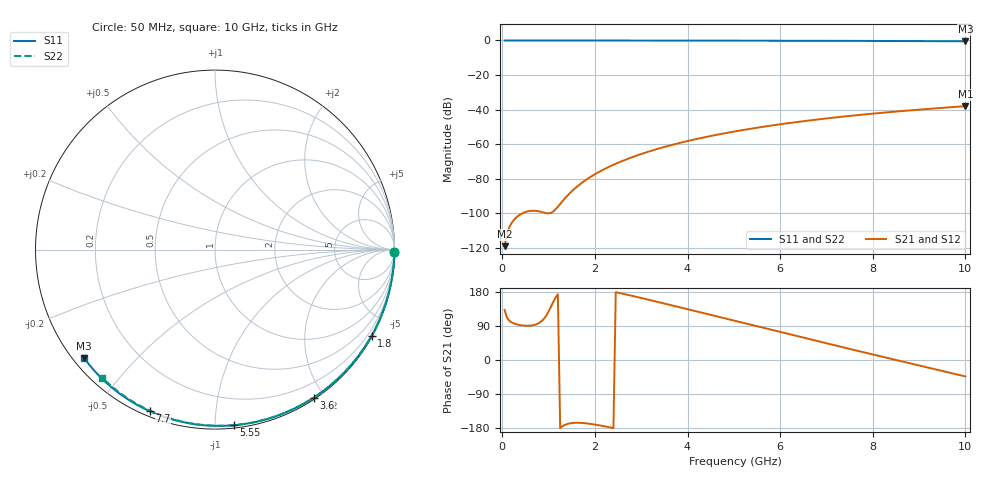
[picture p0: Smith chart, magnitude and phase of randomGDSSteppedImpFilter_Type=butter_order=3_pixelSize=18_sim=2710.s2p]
! freq	dB(S11)	phase(S11)	dB(S12)	phase(S12)
!  dB(S21)	phase(S21)	dB(S22)	phase(S22)
!S-par simulation data
#  GHz  S  DB  R 50
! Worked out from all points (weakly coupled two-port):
!   200 points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, 50 MHz to 10 GHz, reference 50 ohm
!   highest |S21| = -38.08 dB at 10 GHz (marker M1); lowest = -119.2 dB at 50 MHz (marker M2)
!   lowest |S11| = -0.5 dB at 10 GHz (marker M3), VSWR 36.54, Z = 1.55 - j18 ohm
!   |S11| at or under -10 dB: nowhere
!   |S22| runs from -0.4 to 0.0 dB; largest |S21 - S12| = 0
!   S11 on the Smith chart (normalised r, x): 50 MHz: open; 1.8 GHz: 0.03, -3.89; 3.6 GHz: 0.02, -1.87; 5.55 GHz: 0.02, -1.11; 7.7 GHz: 0.02, -0.68; 10 GHz: 0.03, -0.36
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0.05  -0.00 -0.8  -119.18 132.1  -119.18 132.1  -0.00 -0.8
0.45  -0.01 -7.3  -99.91 91.0  -99.91 91.0  -0.01 -6.8
0.9  -0.02 -14.5  -99.76 108.9  -99.76 108.9  -0.02 -13.6
1.75  -0.04 -28.0  -81.85 -166.4  -81.85 -166.4  -0.03 -26.2
1.8  -0.04 -28.8  -80.90 -167.0  -80.90 -167.0  -0.03 -26.9
1.85  -0.04 -29.6  -80.00 -167.7  -80.00 -167.7  -0.04 -27.7
2  -0.04 -31.9  -77.51 -170.4  -77.51 -170.4  -0.04 -29.9
2.15  -0.04 -34.3  -75.28 -173.6  -75.28 -173.6  -0.04 -32.1
2.35  -0.05 -37.4  -72.63 -178.5  -72.63 -178.5  -0.04 -35.0
2.55  -0.05 -40.4  -70.28 176.3  -70.28 176.3  -0.05 -37.8
2.95  -0.06 -46.5  -66.24 165.1  -66.24 165.1  -0.06 -43.6
3.4  -0.07 -53.3  -62.45 152.0  -62.45 152.0  -0.07 -49.9
3.6  -0.08 -56.2  -60.96 146.0  -60.96 146.0  -0.07 -52.7
4.3  -0.09 -66.4  -56.47 125.0  -56.47 125.0  -0.09 -62.3
5.05  -0.12 -77.0  -52.57 102.4  -52.57 102.4  -0.11 -72.2
5.55  -0.14 -83.9  -50.35 87.3  -50.35 87.3  -0.13 -78.7
6.1  -0.16 -91.3  -48.19 70.8  -48.19 70.8  -0.15 -85.6
6.7  -0.19 -99.1  -46.12 52.9  -46.12 52.9  -0.18 -93.1
7.7  -0.26 -111.9  -43.18 23.4  -43.18 23.4  -0.24 -105.0
8.35  -0.31 -120.1  -41.54 4.4  -41.54 4.4  -0.29 -112.6
9.2  -0.39 -130.5  -39.65 -20.2  -39.65 -20.2  -0.36 -122.4
10  -0.48 -140.3  -38.08 -43.4  -38.08 -43.4  -0.44 -131.4
